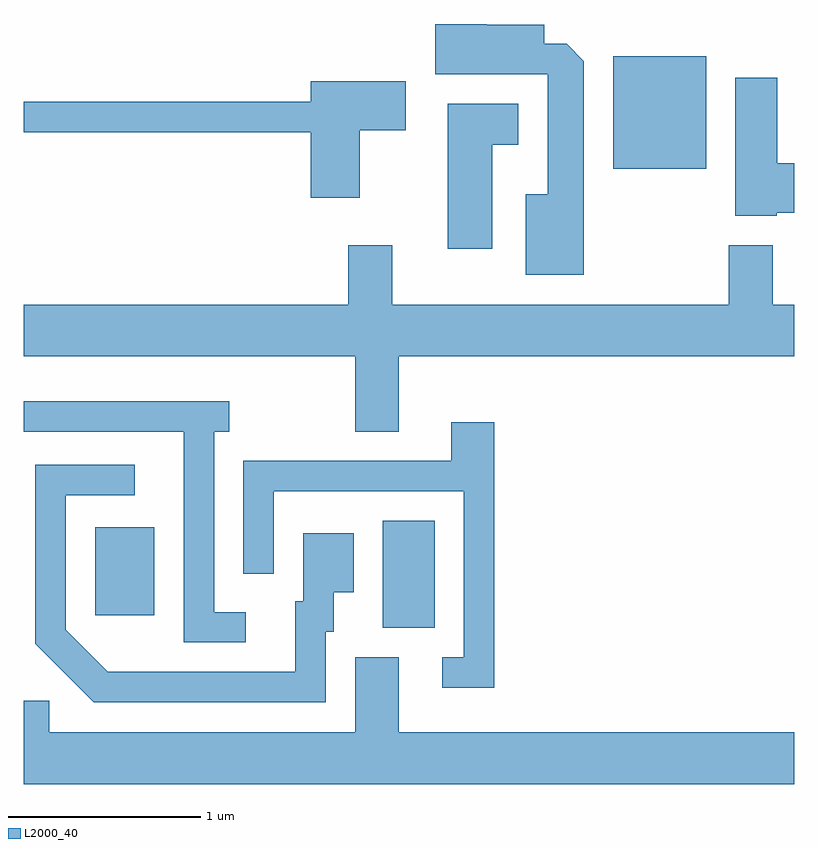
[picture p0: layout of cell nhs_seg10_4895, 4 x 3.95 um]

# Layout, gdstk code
import gdstk
lib = gdstk.Library(unit=1e-6, precision=1e-09)
def R(c, l, rs):  # rectangles x0, y0, x1, y1
    for r in rs: c.add(gdstk.rectangle(r[:2], r[2:], *l))
def P(c, l, *ps):  # polygons
    for p in ps: c.add(gdstk.Polygon(p, *l))
L2000_40 = (2000, 40)

nhs_seg10_4895 = lib.new_cell('nhs_seg10_4895')
R(nhs_seg10_4895, L2000_40, [(331.476,2121.386,331.744,2121.944), (329.981,2121.451,330.289,2121.909), (332.671,2123.771,333.154,2124.354)])
P(nhs_seg10_4895, L2000_40, [(332.519,2124.329),(332.429,2124.419),(332.314,2124.419),(332.314,2124.519),(332.014,2124.519),(332.014,2124.522),(331.746,2124.522),(331.746,2124.261),(332.331,2124.261),(332.331,2123.639),(332.216,2123.639),(332.216,2123.221),(332.519,2123.221)],
  [(333.52,2123.541),(333.611,2123.541),(333.611,2123.799),(333.524,2123.799),(333.524,2124.244),(333.306,2124.244),(333.306,2123.526),(333.52,2123.526)],
  [(331.354,2123.971),(331.594,2123.971),(331.594,2124.224),(331.101,2124.224),(331.101,2124.119),(329.611,2124.119),(329.611,2123.961),(331.101,2123.961),(331.101,2123.621),(331.354,2123.621)],
  [(332.044,2123.896),(332.179,2123.896),(332.179,2124.109),(331.811,2124.109),(331.811,2123.356),(332.044,2123.356)],
  [(331.559,2122.796),(333.611,2122.796),(333.611,2123.064),(333.499,2123.064),(333.499,2123.374),(333.271,2123.374),(333.271,2123.064),(331.524,2123.064),(331.524,2123.374),(331.296,2123.374),(331.296,2123.064),(329.611,2123.064),(329.611,2122.796),(331.331,2122.796),(331.331,2122.406),(331.559,2122.406)],
  [(330.763,2121.469),(330.599,2121.469),(330.599,2122.406),(330.678,2122.406),(330.678,2122.564),(329.611,2122.564),(329.611,2122.405),(329.612,2122.406),(330.441,2122.406),(330.441,2121.311),(330.763,2121.311)],
  [(332.054,2122.454),(331.831,2122.454),(331.831,2122.254),(330.751,2122.254),(330.751,2121.668),(330.909,2121.668),(330.909,2122.096),(331.896,2122.096),(331.896,2121.234),(331.783,2121.234),(331.783,2121.076),(332.054,2121.076)],
  [(331.179,2121.366),(331.219,2121.366),(331.219,2121.571),(331.324,2121.571),(331.324,2121.879),(331.061,2121.879),(331.061,2121.524),(331.021,2121.524),(331.021,2121.159),(330.047,2121.159),(329.829,2121.377),(329.829,2122.076),(330.188,2122.076),(330.188,2122.234),(329.671,2122.234),(329.671,2121.304),(329.974,2121.001),(331.179,2121.001)],
  [(333.611,2120.844),(331.559,2120.844),(331.559,2121.234),(331.331,2121.234),(331.331,2120.844),(329.744,2120.844),(329.744,2121.009),(329.611,2121.009),(329.611,2120.576),(333.611,2120.576)])

lib.write_gds('nhs_seg10_4895.gds')
